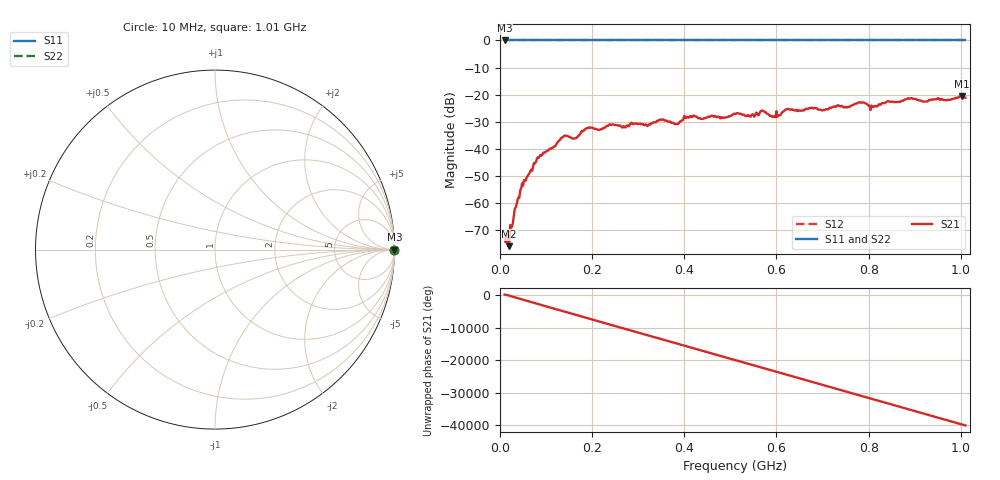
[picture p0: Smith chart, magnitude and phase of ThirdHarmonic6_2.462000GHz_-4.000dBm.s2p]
! 8/17/2025 4:28:10 AM
! C:\ANRITSUVNA\TEMP\TEMP.S2P
! CHANNEL.1
! TR.MEASUREMENT
! RAW.DATA
! RF.CORRECTION.OFF
! AVERAGING.OFF
! IF.BANDWIDTH: 5KHZ
! SWEEPTYPE:  FREQ.SWEEP(Linear)
! Reference Plane Port Info
! PORT:  PORT1  PORT2
! DISTANCE:  0  m  0  m
! TIME:  0  s  0  s
! PHASE.OFFSET:  0  deg.  0  deg.
! LOSS:  0  dB  0  dB
! REF.LOSS:  0  dB  0  dB
! REF.FREQ:  0  Hz  0  Hz
! Power Info
! POWER:  -20  dBm  -20  dBm
! EFF.POWER:  -20  dBm  -20  dBm
! SOURCE.ATTEN:  0  dB  0  dB
! TEST.ATTEN:  0  dB  0  dB
# GHZ S RI R 50.0
! FREQ.GHZ  S11RE  S11IM  S21RE  S21IM  S12RE  S12IM  S22RE  S22IM
!; PortSelection: Port_12
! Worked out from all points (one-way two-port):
!   501 points, 10 MHz to 1.01 GHz, reference 50 ohm
!   highest |S21| = -20.50 dB at 1.002 GHz (marker M1); lowest = -75.9 dB at 20 MHz (marker M2)
!   lowest |S11| = 0.0 dB at 10 MHz (marker M3)
!   |S11| at or under -10 dB: nowhere
!   |S22| runs from 0.0 to 0.0 dB; largest |S21 - S12| = 1.1
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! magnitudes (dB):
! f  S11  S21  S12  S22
! 10 MHz  0.0  -73.1  0.0  0.0
! 16 MHz  0.0  -72.3  0.0  0.0
! 20 MHz  0.0  -75.9  0.0  0.0
! 36 MHz  0.0  -60.5  0.0  0.0
! 48 MHz  0.0  -52.6  0.0  0.0
! 78 MHz  0.0  -44.7  0.0  0.0
! 136 MHz  0.0  -35.7  0.0  0.0
! 162 MHz  0.0  -36.1  0.0  0.0
! 178 MHz  0.0  -33.3  0.0  0.0
! 344 MHz  0.0  -29.6  0.0  0.0
! 384 MHz  0.0  -30.8  0.0  0.0
! 404 MHz  0.0  -28.5  0.0  0.0
! 510 MHz  0.0  -27.1  0.0  0.0
! 570 MHz  0.0  -25.9  0.0  0.0
! 594 MHz  0.0  -28.2  0.0  0.0
! 622 MHz  0.0  -25.4  0.0  0.0
! 678 MHz  0.0  -24.9  0.0  0.0
! 782 MHz  0.0  -22.9  0.0  0.0
! 808 MHz  0.0  -24.2  0.0  0.0
! 844 MHz  0.0  -22.5  0.0  0.0
! 1.002 GHz  0.0  -20.5  0.0  0.0
! 1.01 GHz  0.0  -21.1  0.0  0.0
